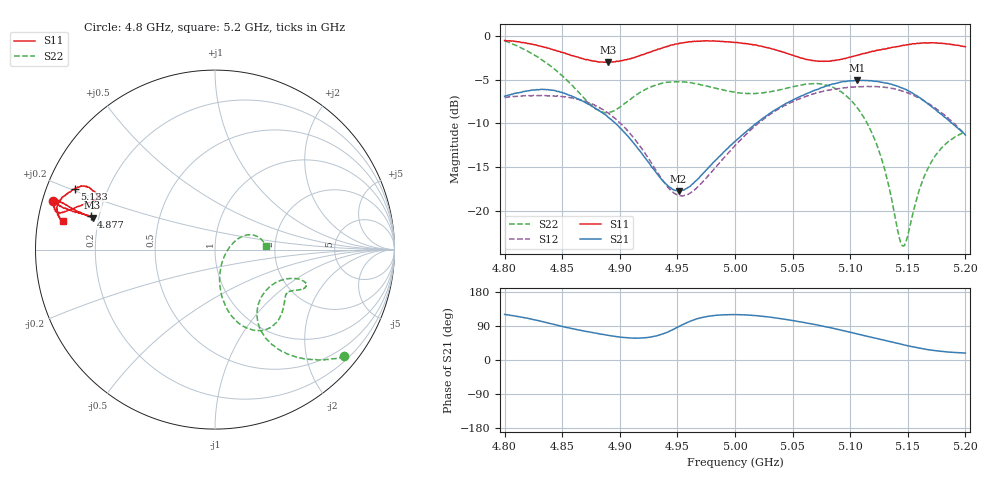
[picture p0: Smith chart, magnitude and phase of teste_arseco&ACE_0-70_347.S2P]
! Network Analyzer HP8722D
! Hewlett-Packard
! Data name: Linha & Wilkinson
! Saver's name: Rodrigo Anjos
! Comments: Teste da utilização de aquisição
! continua pelo VNA HP8722D
! Time and date: 8/5/2025 15:39
!  Frequency  S11  S21  S12  S22
# HZ  S  MA R 50
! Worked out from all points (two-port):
!   401 points, 4.8 GHz to 5.2 GHz, reference 50 ohm
!   highest |S21| = -5.06 dB at 5.106 GHz (marker M1); lowest = -17.7 dB at 4.951 GHz (marker M2)
!   |S21| within 3 dB of the highest: start of sweep to 4.876 GHz; 5.04 GHz to 5.17 GHz (130.5 MHz wide, 2.56 % of centre)
!   lowest |S11| = -3.0 dB at 4.89 GHz (marker M3), VSWR 5.78, Z = 8.79 + j6.21 ohm
!   |S11| at or under -10 dB: nowhere
!   |S22| runs from -24.0 to -0.6 dB; largest |S21 - S12| = 0.73
!   S11 on the Smith chart (normalised r, x): 4.8 GHz: 0.03, +0.15; 4.877 GHz: 0.17, +0.13; 5.133 GHz: 0.08, +0.21; 5.2 GHz: 0.07, +0.09
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4.8e9  0.9403 163.1  0.4521 120.3  0.4442 15.6  0.9344 -39.5
4.833e9  0.864 164.4  0.4946 101.2  0.4545 5.1  0.7229 -54.4
4.867e9  0.7418 165.2  0.4259 77.7  0.4283 -9.9  0.4556 -58.7
4.877e9  0.7165 165.0  0.3926 71.9  0.4059 -16.0  0.3922 -52.3
4.89e9  0.7051 165.4  0.3428 65.0  0.362 -23.2  0.3652 -37.4
4.909e9  0.7393 165.1  0.2575 58.1  0.2764 -32.3  0.4337 -22.0
4.934e9  0.8407 163.7  0.1577 65.6  0.1614 -29.5  0.5295 -19.8
4.951e9  0.9026 162.8  0.13 87.8  0.123 -6.5  0.5468 -22.1
4.966e9  0.9289 162.9  0.1485 108.0  0.1338 16.8  0.532 -24.3
5e9  0.916 166.2  0.2496 119.7  0.2363 37.7  0.4752 -29.3
5.034e9  0.8362 164.4  0.3739 111.5  0.3693 32.4  0.4845 -36.9
5.067e9  0.7222 157.6  0.4818 95.2  0.4646 17.4  0.5323 -51.6
5.087e9  0.7247 155.0  0.5331 82.5  0.4964 5.9  0.5007 -64.0
5.106e9  0.7734 153.8  0.5584 68.8  0.51 -5.6  0.3891 -75.4
5.121e9  0.8169 154.3  0.5493 58.0  0.5116 -15.1  0.2587 -81.7
5.133e9  0.851 156.4  0.5352 49.6  0.5046 -22.9  0.1432 -79.4
5.134e9  0.8506 156.5  0.5317 49.0  0.5049 -23.7  0.1343 -78.1
5.143e9  0.8721 158.5  0.5078 42.6  0.4887 -29.6  0.06887 -47.6
5.147e9  0.8821 159.5  0.4964 39.5  0.4795 -32.2  0.06346 -18.1
5.16e9  0.9056 162.6  0.4445 31.2  0.4396 -40.0  0.132 24.1
5.169e9  0.9104 164.4  0.4018 26.6  0.4062 -44.6  0.1828 25.2
5.2e9  0.8645 169.3  0.2715 18.3  0.2724 -54.1  0.2822 4.4
